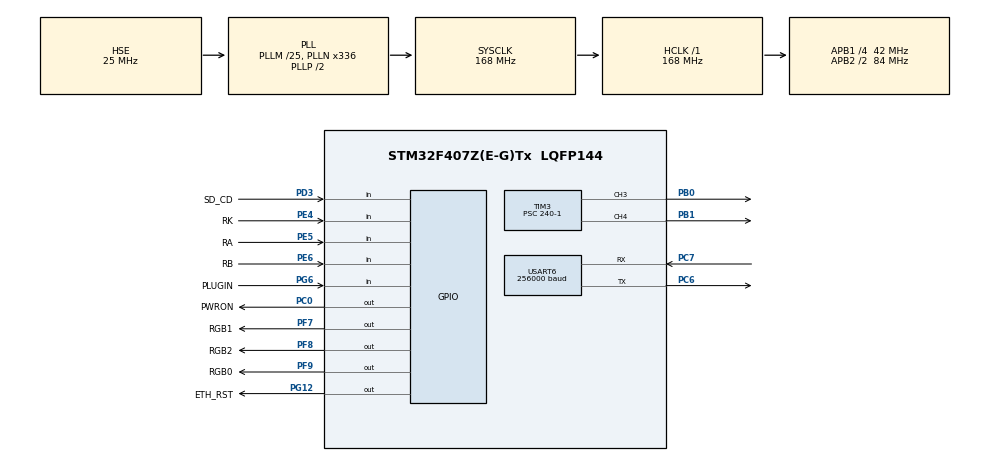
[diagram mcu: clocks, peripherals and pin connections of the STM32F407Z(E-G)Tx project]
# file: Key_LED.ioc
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ADC1.Channel-0\#ChannelRegularConversion=ADC_CHANNEL_TEMPSENSOR
ADC1.Channel-1\#ChannelRegularConversion=ADC_CHANNEL_VREFINT
ADC1.Channel-2\#ChannelRegularConversion=ADC_CHANNEL_VBAT
ADC1.ClockPrescaler=ADC_CLOCK_SYNC_PCLK_DIV8
ADC1.ContinuousConvMode=ENABLE
ADC1.DMAContinuousRequests=ENABLE
ADC1.NbrOfConversion=3
ADC1.NbrOfConversionFlag=1
ADC1.Rank-0\#ChannelRegularConversion=1
ADC1.Rank-1\#ChannelRegularConversion=2
ADC1.Rank-2\#ChannelRegularConversion=3
ADC1.SamplingTime-0\#ChannelRegularConversion=ADC_SAMPLETIME_480CYCLES
ADC1.SamplingTime-1\#ChannelRegularConversion=ADC_SAMPLETIME_480CYCLES
ADC1.SamplingTime-2\#ChannelRegularConversion=ADC_SAMPLETIME_480CYCLES
ADC1.ScanConvMode=ENABLE
ADC1.master=1
Dma.ADC1.2.Direction=DMA_PERIPH_TO_MEMORY
Dma.ADC1.2.FIFOMode=DMA_FIFOMODE_DISABLE
Dma.ADC1.2.Instance=DMA2_Stream0
Dma.ADC1.2.MemDataAlignment=DMA_MDATAALIGN_HALFWORD
Dma.ADC1.2.MemInc=DMA_MINC_ENABLE
Dma.ADC1.2.Mode=DMA_CIRCULAR
Dma.ADC1.2.PeriphDataAlignment=DMA_PDATAALIGN_HALFWORD
Dma.ADC1.2.PeriphInc=DMA_PINC_DISABLE
Dma.ADC1.2.Priority=DMA_PRIORITY_LOW
Dma.Request0=USART6_TX
Dma.Request1=USART6_RX
Dma.Request2=ADC1
Dma.USART6_RX.1.Direction=DMA_PERIPH_TO_MEMORY
Dma.USART6_RX.1.FIFOMode=DMA_FIFOMODE_DISABLE
Dma.USART6_RX.1.Instance=DMA2_Stream1
Dma.USART6_RX.1.MemDataAlignment=DMA_MDATAALIGN_BYTE
Dma.USART6_RX.1.MemInc=DMA_MINC_ENABLE
Dma.USART6_RX.1.Mode=DMA_NORMAL
Dma.USART6_RX.1.PeriphDataAlignment=DMA_PDATAALIGN_BYTE
Dma.USART6_RX.1.PeriphInc=DMA_PINC_DISABLE
Dma.USART6_RX.1.Priority=DMA_PRIORITY_LOW
Dma.USART6_TX.0.Direction=DMA_MEMORY_TO_PERIPH
Dma.USART6_TX.0.FIFOMode=DMA_FIFOMODE_DISABLE
Dma.USART6_TX.0.Instance=DMA2_Stream6
Dma.USART6_TX.0.MemDataAlignment=DMA_MDATAALIGN_BYTE
Dma.USART6_TX.0.MemInc=DMA_MINC_ENABLE
Dma.USART6_TX.0.Mode=DMA_NORMAL
Dma.USART6_TX.0.PeriphDataAlignment=DMA_PDATAALIGN_BYTE
Dma.USART6_TX.0.PeriphInc=DMA_PINC_DISABLE
Dma.USART6_TX.0.Priority=DMA_PRIORITY_LOW
Mcu.Family=STM32F4
Mcu.Name=STM32F407Z(E-G)Tx
Mcu.Package=LQFP144
NVIC.DMA2_Stream0_IRQn=true\:0\:0\:false\:false\:true\:false
NVIC.DMA2_Stream1_IRQn=true\:0\:0\:false\:false\:true\:false
NVIC.DMA2_Stream6_IRQn=true\:0\:0\:false\:false\:true\:false
NVIC.PriorityGroup=NVIC_PRIORITYGROUP_2
NVIC.TIM6_DAC_IRQn=true\:3\:0\:true\:false\:true\:true
PA0-WKUP.Mode=SYS_WakeUp0
PA0-WKUP.Signal=SYS_WKUP
PA13.Mode=Serial_Wire
PA13.Signal=SYS_JTMS-SWDIO
PA14.Mode=Serial_Wire
PA14.Signal=SYS_JTCK-SWCLK
PB0.Signal=S_TIM3_CH3
PB1.Signal=S_TIM3_CH4
PC0.GPIO_Label=PWRON
PC0.Signal=GPIO_Output
PC14-OSC32_IN.Mode=LSE-External-Oscillator
PC14-OSC32_IN.Signal=RCC_OSC32_IN
PC15-OSC32_OUT.Mode=LSE-External-Oscillator
PC15-OSC32_OUT.Signal=RCC_OSC32_OUT
PC6.Mode=Asynchronous
PC6.Signal=USART6_TX
PC7.Mode=Asynchronous
PC7.Signal=USART6_RX
PD3.GPIO_Label=SD_CD
PD3.Signal=GPIO_Input
PE4.GPIO_Label=RK
PE4.Signal=GPIO_Input
PE5.GPIO_Label=RA
PE5.Signal=GPIO_Input
PE6.GPIO_Label=RB
PE6.Signal=GPIO_Input
PF7.GPIO_Label=RGB1
PF7.Signal=GPIO_Output
PF8.GPIO_Label=RGB2
PF8.Signal=GPIO_Output
PF9.GPIO_Label=RGB0
PF9.Signal=GPIO_Output
PG12.GPIO_Label=ETH_RST
PG12.PinState=GPIO_PIN_SET
PG12.Signal=GPIO_Output
PG6.GPIO_Label=PLUGIN
PG6.Signal=GPIO_Input
PH0-OSC_IN.Mode=HSE-External-Oscillator
PH0-OSC_IN.Signal=RCC_OSC_IN
PH1-OSC_OUT.Mode=HSE-External-Oscillator
PH1-OSC_OUT.Signal=RCC_OSC_OUT
ProjectManager.HeapSize=0x200
ProjectManager.StackSize=0x2000
ProjectManager.TargetToolchain=MDK-ARM V5
RCC.48MHZClocksFreq_Value=48000000
RCC.AHBFreq_Value=168000000
RCC.APB1CLKDivider=RCC_HCLK_DIV4
RCC.APB1Freq_Value=42000000
RCC.APB1TimFreq_Value=84000000
RCC.APB2CLKDivider=RCC_HCLK_DIV2
RCC.APB2Freq_Value=84000000
RCC.APB2TimFreq_Value=168000000
RCC.CortexFreq_Value=21000000
RCC.Cortex_Div=SYSTICK_CLKSOURCE_HCLK_DIV8
RCC.EnbaleCSS=true
RCC.HCLKFreq_Value=168000000
RCC.HSE_VALUE=25000000
RCC.HSI_VALUE=16000000
RCC.PLLI2SN=100
RCC.PLLM=25
RCC.PLLN=336
RCC.PLLQ=7
RCC.PLLSourceVirtual=RCC_PLLSOURCE_HSE
RCC.RCC_RTC_Clock_SourceVirtual=RCC_RTCCLKSOURCE_LSE
RCC.SYSCLKFreq_VALUE=168000000
RCC.SYSCLKSource=RCC_SYSCLKSOURCE_PLLCLK
RCC.VCOOutputFreq_Value=336000000
SH.S_TIM3_CH3.0=TIM3_CH3,PWM Generation3 CH3
SH.S_TIM3_CH4.0=TIM3_CH4,PWM Generation4 CH4
TIM3.Channel-PWM\ Generation3\ CH3=TIM_CHANNEL_3
TIM3.Channel-PWM\ Generation4\ CH4=TIM_CHANNEL_4
TIM3.ClockDivision=TIM_CLOCKDIVISION_DIV2
TIM3.Period=255
TIM3.Prescaler=240-1
TIM6.Period=9
TIM6.Prescaler=8399
TIM6.TIM_MasterOutputTrigger=TIM_TRGO_UPDATE
USART6.BaudRate=256000
USART6.VirtualMode=VM_ASYNC
VP_ADC1_TempSens_Input.Mode=IN-TempSens
VP_ADC1_Vbat_Input.Mode=IN-Vbat
VP_ADC1_Vref_Input.Mode=IN-Vrefint
VP_TIM3_VS_ClockSourceINT.Mode=Internal
VP_TIM6_VS_ClockSourceINT.Mode=Enable_Timer
board=Key_LED

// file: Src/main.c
/**
  ******************************************************************************
  * File Name          : main.c
  * Description        : Main program body
  ******************************************************************************
  ** This notice applies to any and all portions of this file
  * that are not between comment pairs USER CODE BEGIN and
  * USER CODE END. Other portions of this file, whether
  * inserted by the user or by software development tools
  * are owned by their respective copyright owners.
  *
  * COPYRIGHT(c) 2017 STMicroelectronics
  *
  * Redistribution and use in source and binary forms, with or without modification,
  * are permitted provided that the following conditions are met:
  *   1. Redistributions of source code must retain the above copyright notice,
  *      this list of conditions and the following disclaimer.
  *   2. Redistributions in binary form must reproduce the above copyright notice,
  *      this list of conditions and the following disclaimer in the documentation
  *      and/or other materials provided with the distribution.
  *   3. Neither the name of STMicroelectronics nor the names of its contributors
  *      may be used to endorse or promote products derived from this software
  *      without specific prior written permission.
  *
  * THIS SOFTWARE IS PROVIDED BY THE COPYRIGHT HOLDERS AND CONTRIBUTORS "AS IS"
  * AND ANY EXPRESS OR IMPLIED WARRANTIES, INCLUDING, BUT NOT LIMITED TO, THE
  * IMPLIED WARRANTIES OF MERCHANTABILITY AND FITNESS FOR A PARTICULAR PURPOSE ARE
  * DISCLAIMED. IN NO EVENT SHALL THE COPYRIGHT HOLDER OR CONTRIBUTORS BE LIABLE
  * FOR ANY DIRECT, INDIRECT, INCIDENTAL, SPECIAL, EXEMPLARY, OR CONSEQUENTIAL
  * DAMAGES (INCLUDING, BUT NOT LIMITED TO, PROCUREMENT OF SUBSTITUTE GOODS OR
  * SERVICES; LOSS OF USE, DATA, OR PROFITS; OR BUSINESS INTERRUPTION) HOWEVER
  * CAUSED AND ON ANY THEORY OF LIABILITY, WHETHER IN CONTRACT, STRICT LIABILITY,
  * OR TORT (INCLUDING NEGLIGENCE OR OTHERWISE) ARISING IN ANY WAY OUT OF THE USE
  * OF THIS SOFTWARE, EVEN IF ADVISED OF THE POSSIBILITY OF SUCH DAMAGE.
  *
  ******************************************************************************
  */

#include "main.h"
#include "stm32f4xx_hal.h"

/* USER CODE BEGIN Includes */
#include "RotaryEncoder.h"
#include "bsp_led.h"
#include "stdbool.h"
/* USER CODE END Includes */

ADC_HandleTypeDef hadc1;
DMA_HandleTypeDef hdma_adc1;

TIM_HandleTypeDef htim3;
TIM_HandleTypeDef htim6;

UART_HandleTypeDef huart6;
DMA_HandleTypeDef hdma_usart6_tx;
DMA_HandleTypeDef hdma_usart6_rx;

/* USER CODE BEGIN PV */
/* Private variables ---------------------------------------------------------*/
LED_ConfigTypeDef ledcfg;
uint8_t ledcolorturn = 0;
bool flag_1ms = false;
uint32_t timecount = 0;

__IO uint16_t g_ADCBuf[3];

/* USER CODE END PV */

void SystemClock_Config(void);
static void MX_GPIO_Init(void);
static void MX_DMA_Init(void);
static void MX_TIM3_Init(void);
static void MX_TIM6_Init(void);
static void MX_USART6_UART_Init(void);
static void MX_ADC1_Init(void);

void HAL_TIM_MspPostInit(TIM_HandleTypeDef *htim);

/* USER CODE BEGIN PFP */
/* Private function prototypes -----------------------------------------------*/
void spin_keypress(void)
{
	ledcolorturn++;
	if(ledcolorturn>2)ledcolorturn=0;
	timecount = 0;
}

void spin_cw(void)
{
	ledcfg.leds[0].ledrgb[ledcolorturn]++;
	timecount = 0;
}

void spin_ccw(void)
{
	ledcfg.leds[0].ledrgb[ledcolorturn]--;
	timecount = 0;
}
/* USER CODE END PFP */

/* USER CODE BEGIN 0 */
#if defined(__ARMCC_VERSION)
int stdout_putchar (int ch)
{
	uint8_t c = ch;
	HAL_UART_Transmit(&huart6, &c, 1, 1);
	return ch;
}
#else
int write (int fd, const void *buf, size_t count)
{
	for(uint32_t i=0; i<count; ++i)
	{
		HAL_UART_Transmit(&huart6, buf+i, 1, 1);
	}
	return count;
}
int _write (int fd, const void *buf, size_t count)
{
	for(uint32_t i=0; i<count; ++i)
	{
		HAL_UART_Transmit(&huart6, buf+i, 1, 1);
	}
	return count;
}
#endif
/* USER CODE END 0 */

int main(void)
{

  /* USER CODE BEGIN 1 */
	struspin spin;
	SpinProcessTypeDef spinfunc;
	spinfunc.pFunSpinkeypress = spin_keypress;
	spinfunc.pFunSpinCW = spin_cw;
	spinfunc.pFunSpinCCW = spin_ccw;
  /* USER CODE END 1 */

  /* MCU Configuration----------------------------------------------------------*/

  /* Reset of all peripherals, Initializes the Flash interface and the Systick. */
  HAL_Init();

  /* Configure the system clock */
  SystemClock_Config();

  /* Initialize all configured peripherals */
  MX_GPIO_Init();
  MX_DMA_Init();
  MX_TIM3_Init();
  MX_TIM6_Init();
  MX_USART6_UART_Init();
  MX_ADC1_Init();

  /* USER CODE BEGIN 2 */
	printf("Key LED Demo F407 @ %u Hz\n", SystemCoreClock);
	HAL_ADC_Start_DMA(&hadc1, (uint32_t*)g_ADCBuf, 3);
  /* USER CODE END 2 */

  /* Infinite loop */
  /* USER CODE BEGIN WHILE */
  ledcfg.lednum = LED_NUM;
  ledcfg.leds[0].rgbcolor = 0xFFFFFFFF;
  ledcfg.leds[1].rgbcolor = 0xFFFFFFFF;
  ledcfg.leds[2].rgbcolor = 0xFFFFFFFF;
	Init_Spin_Status( &spin );
	BSP_LED_INIT(&ledcfg);
	RegisterForProcess_Spin(&spinfunc);
	HAL_TIM_Base_Start_IT(&htim6);

  while (1)
  {
//		if( flag_1ms )
//		{
//			flag_1ms = false;
//			timecount++;
//			if( timecount > 5000 )
//			{
//				timecount = 0;
//
//				__HAL_PWR_CLEAR_FLAG(PWR_FLAG_WU);
//
//				/* Re-enable all used wakeup sources: Pin1(PA.0) */
//				HAL_PWR_EnableWakeUpPin(PWR_WAKEUP_PIN1);

//				/* Request to enter STANDBY mode  */
//				HAL_PWR_EnterSTANDBYMode();
//			}
//		}
  /* USER CODE END WHILE */

  /* USER CODE BEGIN 3 */
		Read_Spin(&spin);
		Process_Spin(&spin);
		BSP_LED_REFRESH(&ledcfg);
		HAL_Delay(1000);

		printf("%u %u %u\n", g_ADCBuf[0], g_ADCBuf[1], g_ADCBuf[2]);
  }
  /* USER CODE END 3 */

}

/** System Clock Configuration
*/
void SystemClock_Config(void)
{

  RCC_OscInitTypeDef RCC_OscInitStruct;
  RCC_ClkInitTypeDef RCC_ClkInitStruct;

    /**Configure the main internal regulator output voltage
    */
  __HAL_RCC_PWR_CLK_ENABLE();

  __HAL_PWR_VOLTAGESCALING_CONFIG(PWR_REGULATOR_VOLTAGE_SCALE1);

    /**Initializes the CPU, AHB and APB busses clocks
    */
  RCC_OscInitStruct.OscillatorType = RCC_OSCILLATORTYPE_HSE;
  RCC_OscInitStruct.HSEState = RCC_HSE_ON;
  RCC_OscInitStruct.PLL.PLLState = RCC_PLL_ON;
  RCC_OscInitStruct.PLL.PLLSource = RCC_PLLSOURCE_HSE;
  RCC_OscInitStruct.PLL.PLLM = 25;
  RCC_OscInitStruct.PLL.PLLN = 336;
  RCC_OscInitStruct.PLL.PLLP = RCC_PLLP_DIV2;
  RCC_OscInitStruct.PLL.PLLQ = 7;
  if (HAL_RCC_OscConfig(&RCC_OscInitStruct) != HAL_OK)
  {
    _Error_Handler(__FILE__, __LINE__);
  }

    /**Initializes the CPU, AHB and APB busses clocks
    */
  RCC_ClkInitStruct.ClockType = RCC_CLOCKTYPE_HCLK|RCC_CLOCKTYPE_SYSCLK
                              |RCC_CLOCKTYPE_PCLK1|RCC_CLOCKTYPE_PCLK2;
  RCC_ClkInitStruct.SYSCLKSource = RCC_SYSCLKSOURCE_PLLCLK;
  RCC_ClkInitStruct.AHBCLKDivider = RCC_SYSCLK_DIV1;
  RCC_ClkInitStruct.APB1CLKDivider = RCC_HCLK_DIV4;
  RCC_ClkInitStruct.APB2CLKDivider = RCC_HCLK_DIV2;

  if (HAL_RCC_ClockConfig(&RCC_ClkInitStruct, FLASH_LATENCY_5) != HAL_OK)
  {
    _Error_Handler(__FILE__, __LINE__);
  }

    /**Enables the Clock Security System
    */
  HAL_RCC_EnableCSS();

    /**Configure the Systick interrupt time
    */
  HAL_SYSTICK_Config(HAL_RCC_GetHCLKFreq()/8000);

    /**Configure the Systick
    */
  HAL_SYSTICK_CLKSourceConfig(SYSTICK_CLKSOURCE_HCLK_DIV8);

  /* SysTick_IRQn interrupt configuration */
  HAL_NVIC_SetPriority(SysTick_IRQn, 0, 0);
}

/* ADC1 init function */
static void MX_ADC1_Init(void)
{

  ADC_ChannelConfTypeDef sConfig;

    /**Configure the global features of the ADC (Clock, Resolution, Data Alignment and number of conversion)
    */
  hadc1.Instance = ADC1;
  hadc1.Init.ClockPrescaler = ADC_CLOCK_SYNC_PCLK_DIV8;
  hadc1.Init.Resolution = ADC_RESOLUTION_12B;
  hadc1.Init.ScanConvMode = ENABLE;
  hadc1.Init.ContinuousConvMode = ENABLE;
  hadc1.Init.DiscontinuousConvMode = DISABLE;
  hadc1.Init.ExternalTrigConvEdge = ADC_EXTERNALTRIGCONVEDGE_NONE;
  hadc1.Init.ExternalTrigConv = ADC_SOFTWARE_START;
  hadc1.Init.DataAlign = ADC_DATAALIGN_RIGHT;
  hadc1.Init.NbrOfConversion = 3;
  hadc1.Init.DMAContinuousRequests = ENABLE;
  hadc1.Init.EOCSelection = ADC_EOC_SINGLE_CONV;
  if (HAL_ADC_Init(&hadc1) != HAL_OK)
  {
    _Error_Handler(__FILE__, __LINE__);
  }

    /**Configure for the selected ADC regular channel its corresponding rank in the sequencer and its sample time.
    */
  sConfig.Channel = ADC_CHANNEL_TEMPSENSOR;
  sConfig.Rank = 1;
  sConfig.SamplingTime = ADC_SAMPLETIME_480CYCLES;
  if (HAL_ADC_ConfigChannel(&hadc1, &sConfig) != HAL_OK)
  {
    _Error_Handler(__FILE__, __LINE__);
  }

    /**Configure for the selected ADC regular channel its corresponding rank in the sequencer and its sample time.
    */
  sConfig.Channel = ADC_CHANNEL_VREFINT;
  sConfig.Rank = 2;
  if (HAL_ADC_ConfigChannel(&hadc1, &sConfig) != HAL_OK)
  {
    _Error_Handler(__FILE__, __LINE__);
  }

    /**Configure for the selected ADC regular channel its corresponding rank in the sequencer and its sample time.
    */
  sConfig.Channel = ADC_CHANNEL_VBAT;
  sConfig.Rank = 3;
  if (HAL_ADC_ConfigChannel(&hadc1, &sConfig) != HAL_OK)
  {
    _Error_Handler(__FILE__, __LINE__);
  }

}

/* TIM3 init function */
static void MX_TIM3_Init(void)
{

  TIM_ClockConfigTypeDef sClockSourceConfig;
  TIM_MasterConfigTypeDef sMasterConfig;
  TIM_OC_InitTypeDef sConfigOC;

  htim3.Instance = TIM3;
  htim3.Init.Prescaler = 240-1;
  htim3.Init.CounterMode = TIM_COUNTERMODE_UP;
  htim3.Init.Period = 255;
  htim3.Init.ClockDivision = TIM_CLOCKDIVISION_DIV2;
  if (HAL_TIM_Base_Init(&htim3) != HAL_OK)
  {
    _Error_Handler(__FILE__, __LINE__);
  }

  sClockSourceConfig.ClockSource = TIM_CLOCKSOURCE_INTERNAL;
  if (HAL_TIM_ConfigClockSource(&htim3, &sClockSourceConfig) != HAL_OK)
  {
    _Error_Handler(__FILE__, __LINE__);
  }

  if (HAL_TIM_PWM_Init(&htim3) != HAL_OK)
  {
    _Error_Handler(__FILE__, __LINE__);
  }

  sMasterConfig.MasterOutputTrigger = TIM_TRGO_RESET;
  sMasterConfig.MasterSlaveMode = TIM_MASTERSLAVEMODE_DISABLE;
  if (HAL_TIMEx_MasterConfigSynchronization(&htim3, &sMasterConfig) != HAL_OK)
  {
    _Error_Handler(__FILE__, __LINE__);
  }

  sConfigOC.OCMode = TIM_OCMODE_PWM1;
  sConfigOC.Pulse = 0;
  sConfigOC.OCPolarity = TIM_OCPOLARITY_HIGH;
  sConfigOC.OCFastMode = TIM_OCFAST_DISABLE;
  if (HAL_TIM_PWM_ConfigChannel(&htim3, &sConfigOC, TIM_CHANNEL_3) != HAL_OK)
  {
    _Error_Handler(__FILE__, __LINE__);
  }

  if (HAL_TIM_PWM_ConfigChannel(&htim3, &sConfigOC, TIM_CHANNEL_4) != HAL_OK)
  {
    _Error_Handler(__FILE__, __LINE__);
  }

  HAL_TIM_MspPostInit(&htim3);

}

/* TIM6 init function */
static void MX_TIM6_Init(void)
{

  TIM_MasterConfigTypeDef sMasterConfig;

  htim6.Instance = TIM6;
  htim6.Init.Prescaler = 8399;
  htim6.Init.CounterMode = TIM_COUNTERMODE_UP;
  htim6.Init.Period = 9;
  if (HAL_TIM_Base_Init(&htim6) != HAL_OK)
  {
    _Error_Handler(__FILE__, __LINE__);
  }

  sMasterConfig.MasterOutputTrigger = TIM_TRGO_UPDATE;
  sMasterConfig.MasterSlaveMode = TIM_MASTERSLAVEMODE_DISABLE;
  if (HAL_TIMEx_MasterConfigSynchronization(&htim6, &sMasterConfig) != HAL_OK)
  {
    _Error_Handler(__FILE__, __LINE__);
  }

}

/* USART6 init function */
static void MX_USART6_UART_Init(void)
{

  huart6.Instance = USART6;
  huart6.Init.BaudRate = 256000;
  huart6.Init.WordLength = UART_WORDLENGTH_8B;
  huart6.Init.StopBits = UART_STOPBITS_1;
  huart6.Init.Parity = UART_PARITY_NONE;
  huart6.Init.Mode = UART_MODE_TX_RX;
  huart6.Init.HwFlowCtl = UART_HWCONTROL_NONE;
  huart6.Init.OverSampling = UART_OVERSAMPLING_16;
  if (HAL_UART_Init(&huart6) != HAL_OK)
  {
    _Error_Handler(__FILE__, __LINE__);
  }

}

static void MX_DMA_Init(void)
{
  /* DMA controller clock enable */
  __HAL_RCC_DMA2_CLK_ENABLE();

  /* DMA interrupt init */
  /* DMA2_Stream0_IRQn interrupt configuration */
  HAL_NVIC_SetPriority(DMA2_Stream0_IRQn, 0, 0);
  HAL_NVIC_EnableIRQ(DMA2_Stream0_IRQn);
  /* DMA2_Stream1_IRQn interrupt configuration */
  HAL_NVIC_SetPriority(DMA2_Stream1_IRQn, 0, 0);
  HAL_NVIC_EnableIRQ(DMA2_Stream1_IRQn);
  /* DMA2_Stream6_IRQn interrupt configuration */
  HAL_NVIC_SetPriority(DMA2_Stream6_IRQn, 0, 0);
  HAL_NVIC_EnableIRQ(DMA2_Stream6_IRQn);

}

/** Configure pins as
        * Analog
        * Input
        * Output
        * EVENT_OUT
        * EXTI
        * Free pins are configured automatically as Analog (this feature is enabled through
        * the Code Generation settings)
*/
static void MX_GPIO_Init(void)
{

  GPIO_InitTypeDef GPIO_InitStruct;

  /* GPIO Ports Clock Enable */
  __HAL_RCC_GPIOE_CLK_ENABLE();
  __HAL_RCC_GPIOC_CLK_ENABLE();
  __HAL_RCC_GPIOF_CLK_ENABLE();
  __HAL_RCC_GPIOH_CLK_ENABLE();
  __HAL_RCC_GPIOA_CLK_ENABLE();
  __HAL_RCC_GPIOB_CLK_ENABLE();
  __HAL_RCC_GPIOG_CLK_ENABLE();
  __HAL_RCC_GPIOD_CLK_ENABLE();

  /*Configure GPIO pin Output Level */
  HAL_GPIO_WritePin(GPIOF, RGB1_Pin|RGB2_Pin|RGB0_Pin, GPIO_PIN_RESET);

  /*Configure GPIO pin Output Level */
  HAL_GPIO_WritePin(PWRON_GPIO_Port, PWRON_Pin, GPIO_PIN_RESET);

  /*Configure GPIO pin Output Level */
  HAL_GPIO_WritePin(ETH_RST_GPIO_Port, ETH_RST_Pin, GPIO_PIN_SET);

  /*Configure GPIO pins : PE2 PE3 PE7 PE8
                           PE9 PE10 PE11 PE12
                           PE13 PE14 PE15 PE0
                           PE1 */
  GPIO_InitStruct.Pin = GPIO_PIN_2|GPIO_PIN_3|GPIO_PIN_7|GPIO_PIN_8
                          |GPIO_PIN_9|GPIO_PIN_10|GPIO_PIN_11|GPIO_PIN_12
                          |GPIO_PIN_13|GPIO_PIN_14|GPIO_PIN_15|GPIO_PIN_0
                          |GPIO_PIN_1;
  GPIO_InitStruct.Mode = GPIO_MODE_ANALOG;
  GPIO_InitStruct.Pull = GPIO_NOPULL;
  HAL_GPIO_Init(GPIOE, &GPIO_InitStruct);

  /*Configure GPIO pins : RK_Pin RA_Pin RB_Pin */
  GPIO_InitStruct.Pin = RK_Pin|RA_Pin|RB_Pin;
  GPIO_InitStruct.Mode = GPIO_MODE_INPUT;
  GPIO_InitStruct.Pull = GPIO_NOPULL;
  HAL_GPIO_Init(GPIOE, &GPIO_InitStruct);

  /*Configure GPIO pins : PC13 PC1 PC2 PC3
                           PC4 PC5 PC8 PC9
                           PC10 PC11 PC12 */
  GPIO_InitStruct.Pin = GPIO_PIN_13|GPIO_PIN_1|GPIO_PIN_2|GPIO_PIN_3
                          |GPIO_PIN_4|GPIO_PIN_5|GPIO_PIN_8|GPIO_PIN_9
                          |GPIO_PIN_10|GPIO_PIN_11|GPIO_PIN_12;
  GPIO_InitStruct.Mode = GPIO_MODE_ANALOG;
  GPIO_InitStruct.Pull = GPIO_NOPULL;
  HAL_GPIO_Init(GPIOC, &GPIO_InitStruct);

  /*Configure GPIO pins : PF0 PF1 PF2 PF3
                           PF4 PF5 PF6 PF10
                           PF11 PF12 PF13 PF14
                           PF15 */
  GPIO_InitStruct.Pin = GPIO_PIN_0|GPIO_PIN_1|GPIO_PIN_2|GPIO_PIN_3
                          |GPIO_PIN_4|GPIO_PIN_5|GPIO_PIN_6|GPIO_PIN_10
                          |GPIO_PIN_11|GPIO_PIN_12|GPIO_PIN_13|GPIO_PIN_14
                          |GPIO_PIN_15;
  GPIO_InitStruct.Mode = GPIO_MODE_ANALOG;
  GPIO_InitStruct.Pull = GPIO_NOPULL;
  HAL_GPIO_Init(GPIOF, &GPIO_InitStruct);

  /*Configure GPIO pins : RGB1_Pin RGB2_Pin RGB0_Pin */
  GPIO_InitStruct.Pin = RGB1_Pin|RGB2_Pin|RGB0_Pin;
  GPIO_InitStruct.Mode = GPIO_MODE_OUTPUT_PP;
  GPIO_InitStruct.Pull = GPIO_NOPULL;
  GPIO_InitStruct.Speed = GPIO_SPEED_FREQ_LOW;
  HAL_GPIO_Init(GPIOF, &GPIO_InitStruct);

  /*Configure GPIO pin : PWRON_Pin */
  GPIO_InitStruct.Pin = PWRON_Pin;
  GPIO_InitStruct.Mode = GPIO_MODE_OUTPUT_PP;
  GPIO_InitStruct.Pull = GPIO_NOPULL;
  GPIO_InitStruct.Speed = GPIO_SPEED_FREQ_LOW;
  HAL_GPIO_Init(PWRON_GPIO_Port, &GPIO_InitStruct);

  /*Configure GPIO pins : PA1 PA2 PA3 PA4
                           PA5 PA6 PA7 PA8
                           PA9 PA10 PA11 PA12
                           PA15 */
  GPIO_InitStruct.Pin = GPIO_PIN_1|GPIO_PIN_2|GPIO_PIN_3|GPIO_PIN_4
                          |GPIO_PIN_5|GPIO_PIN_6|GPIO_PIN_7|GPIO_PIN_8
                          |GPIO_PIN_9|GPIO_PIN_10|GPIO_PIN_11|GPIO_PIN_12
                          |GPIO_PIN_15;
  GPIO_InitStruct.Mode = GPIO_MODE_ANALOG;
  GPIO_InitStruct.Pull = GPIO_NOPULL;
  HAL_GPIO_Init(GPIOA, &GPIO_InitStruct);

  /*Configure GPIO pins : PB2 PB10 PB11 PB12
                           PB13 PB14 PB15 PB3
                           PB4 PB5 PB6 PB7
                           PB8 PB9 */
  GPIO_InitStruct.Pin = GPIO_PIN_2|GPIO_PIN_10|GPIO_PIN_11|GPIO_PIN_12
                          |GPIO_PIN_13|GPIO_PIN_14|GPIO_PIN_15|GPIO_PIN_3
                          |GPIO_PIN_4|GPIO_PIN_5|GPIO_PIN_6|GPIO_PIN_7
                          |GPIO_PIN_8|GPIO_PIN_9;
  GPIO_InitStruct.Mode = GPIO_MODE_ANALOG;
  GPIO_InitStruct.Pull = GPIO_NOPULL;
  HAL_GPIO_Init(GPIOB, &GPIO_InitStruct);

  /*Configure GPIO pins : PG0 PG1 PG2 PG3
                           PG4 PG5 PG7 PG8
                           PG9 PG10 PG11 PG13
                           PG14 PG15 */
  GPIO_InitStruct.Pin = GPIO_PIN_0|GPIO_PIN_1|GPIO_PIN_2|GPIO_PIN_3
                          |GPIO_PIN_4|GPIO_PIN_5|GPIO_PIN_7|GPIO_PIN_8
                          |GPIO_PIN_9|GPIO_PIN_10|GPIO_PIN_11|GPIO_PIN_13
                          |GPIO_PIN_14|GPIO_PIN_15;
  GPIO_InitStruct.Mode = GPIO_MODE_ANALOG;
  GPIO_InitStruct.Pull = GPIO_NOPULL;
  HAL_GPIO_Init(GPIOG, &GPIO_InitStruct);

  /*Configure GPIO pins : PD8 PD9 PD10 PD11
                           PD12 PD13 PD14 PD15
                           PD0 PD1 PD2 PD4
                           PD5 PD6 PD7 */
  GPIO_InitStruct.Pin = GPIO_PIN_8|GPIO_PIN_9|GPIO_PIN_10|GPIO_PIN_11
                          |GPIO_PIN_12|GPIO_PIN_13|GPIO_PIN_14|GPIO_PIN_15
                          |GPIO_PIN_0|GPIO_PIN_1|GPIO_PIN_2|GPIO_PIN_4
                          |GPIO_PIN_5|GPIO_PIN_6|GPIO_PIN_7;
  GPIO_InitStruct.Mode = GPIO_MODE_ANALOG;
  GPIO_InitStruct.Pull = GPIO_NOPULL;
  HAL_GPIO_Init(GPIOD, &GPIO_InitStruct);

  /*Configure GPIO pin : PLUGIN_Pin */
  GPIO_InitStruct.Pin = PLUGIN_Pin;
  GPIO_InitStruct.Mode = GPIO_MODE_INPUT;
  GPIO_InitStruct.Pull = GPIO_NOPULL;
  HAL_GPIO_Init(PLUGIN_GPIO_Port, &GPIO_InitStruct);

  /*Configure GPIO pin : SD_CD_Pin */
  GPIO_InitStruct.Pin = SD_CD_Pin;
  GPIO_InitStruct.Mode = GPIO_MODE_INPUT;
  GPIO_InitStruct.Pull = GPIO_NOPULL;
  HAL_GPIO_Init(SD_CD_GPIO_Port, &GPIO_InitStruct);

  /*Configure GPIO pin : ETH_RST_Pin */
  GPIO_InitStruct.Pin = ETH_RST_Pin;
  GPIO_InitStruct.Mode = GPIO_MODE_OUTPUT_PP;
  GPIO_InitStruct.Pull = GPIO_NOPULL;
  GPIO_InitStruct.Speed = GPIO_SPEED_FREQ_LOW;
  HAL_GPIO_Init(ETH_RST_GPIO_Port, &GPIO_InitStruct);

}

void _Error_Handler(char * file, int line)
{
  while(1)
  {
  }
}

/************************ (C) COPYRIGHT STMicroelectronics *****END OF FILE****/
